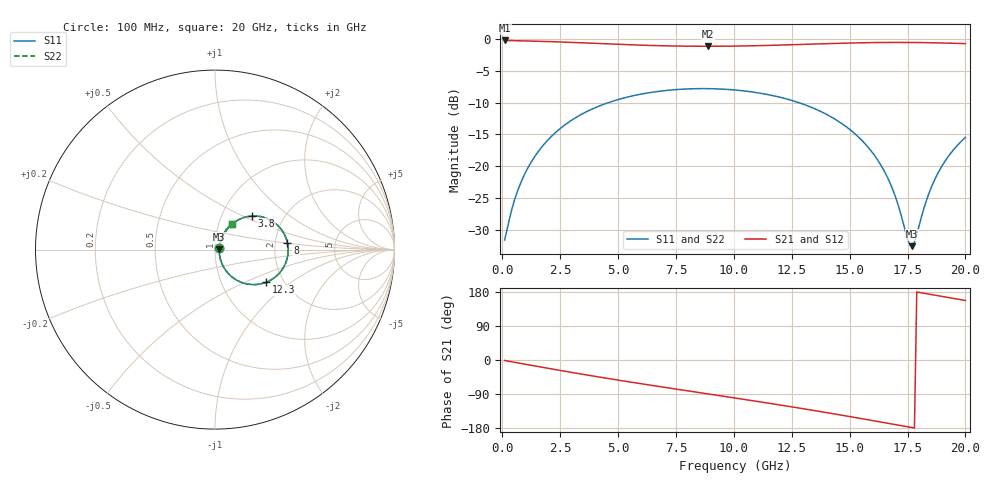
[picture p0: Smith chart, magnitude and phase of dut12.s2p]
! Touchstone file exported from HFSS 2026.1.0
!  File:  C:/ffzhzh/LocalFiles/Ansys_Project_Files/temp_val_TSV_RDL_12_1782976510_45748.aedt
!  Generated:  03:26:43 PM Jul  2, 2026
!  Design:  TSV_RDL
!  Project:  temp_val_TSV_RDL_12_1782976510_45748
! Variables:
!  h_bsmrdl = 5.2um
!  h_ox = 20um
!  h_rdl = 5um
!  h_sub = 93.41um
!  h_tmrdl = 2.77um
!  h_tsv = 93.41um
!  h_via = 3um
!  l_bsmrdl = 160.07um
!  l_sub = 3193.51um
!  l_tmrdl = 550.74um
!  m_sub = 200um
!  pitch = 30.61um
!  r_tsv = 3.1um
!  s_tmrdl = 10um
!  w_bsmrdl = 18.16um
!  w_sub = 500um
!  w_tmrdl = 18.62um
!  x_tsv_center1 = 560.05um
!  x_tsv_center2 = 738.28um
!  x_tsv_center3 = 1307.64um
!  x_tsv_center4 = 1485.87um
!  x_tsv_center5 = 2055.23um
!  x_tsv_center6 = 2233.46um
# GHz S MA R 50.000000
! Terminal data exported
! Port[1] = TM_RDL1_1_T1
! Port[2] = TM_RDL5_1_T1
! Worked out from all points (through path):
!   200 points, 100 MHz to 20 GHz, reference 50 ohm
!   highest |S21| = -0.22 dB at 100 MHz (marker M1); lowest = -1.1 dB at 8.9 GHz (marker M2)
!   group delay of S21, straight-line fit = 27.5 ps
!   lowest |S11| = -32.6 dB at 17.7 GHz (marker M3), VSWR 1.05, Z = 52.4 + j0.158 ohm
!   |S11| at or under -10 dB: start of sweep to 4.578 GHz; 12.81 GHz to end of sweep
!   |S22| runs from -32.5 to -7.8 dB; largest |S21 - S12| = 3e-14
!   S11 on the Smith chart (normalised r, x): 100 MHz: 1.05, +0.02; 3.8 GHz: 1.38, +0.56; 8 GHz: 2.34, +0.20; 12.3 GHz: 1.62, -0.67; 20 GHz: 1.15, +0.33
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0.1  0.0263 20.0  0.9754 -1.2  0.9754 -1.2  0.0263 20.0
! Gamma 0 0 0 0
! Port Impedance 50 0 50 0
0.6  0.05947 55.0  0.9706 -6.9  0.9706 -6.9  0.05947 55.0
1.3  0.1116 59.9  0.9641 -14.6  0.9641 -14.6  0.1116 59.9
2.3  0.1842 54.9  0.952 -25.4  0.952 -25.4  0.1841 54.9
3.5  0.2606 45.0  0.9334 -38.0  0.9334 -38.0  0.2606 45.0
3.8  0.2774 42.4  0.9285 -41.1  0.9285 -41.1  0.2774 42.4
6.8  0.389 15.6  0.8871 -70.2  0.8871 -70.2  0.389 15.6
8  0.4054 5.1  0.8793 -81.3  0.8793 -81.3  0.4054 5.1
8.9  0.4075 -2.8  0.8777 -89.6  0.8777 -89.6  0.4075 -2.8
10.1  0.3969 -13.3  0.881 -100.7  0.881 -100.7  0.3969 -13.2
12.3  0.3373 -32.8  0.9003 -121.7  0.9003 -121.7  0.3373 -32.7
13.4  0.288 -42.6  0.9134 -132.6  0.9134 -132.6  0.288 -42.6
15.4  0.1685 -59.4  0.9345 -153.5  0.9345 -153.5  0.1685 -59.3
16.1  0.1199 -63.3  0.9391 -161.0  0.9391 -161.0  0.1199 -63.2
16.7  0.07703 -63.2  0.9412 -167.5  0.9412 -167.5  0.07707 -63.0
17.1  0.04926 -56.7  0.9415 -171.8  0.9415 -171.8  0.04934 -56.5
17.5  0.02682 -28.4  0.9411 -176.2  0.9411 -176.2  0.02698 -28.2
17.7  0.02351 3.7  0.9405 -178.3  0.9405 -178.3  0.02369 3.7
18.3  0.05266 56.0  0.9376 175.1  0.9376 175.1  0.05276 55.8
18.7  0.08021 61.2  0.9347 170.8  0.9347 170.8  0.08028 61.1
19.3  0.122 61.0  0.9291 164.4  0.9291 164.4  0.122 60.9
20  0.1687 56.9  0.9209 157.0  0.9209 157.0  0.1688 56.9
